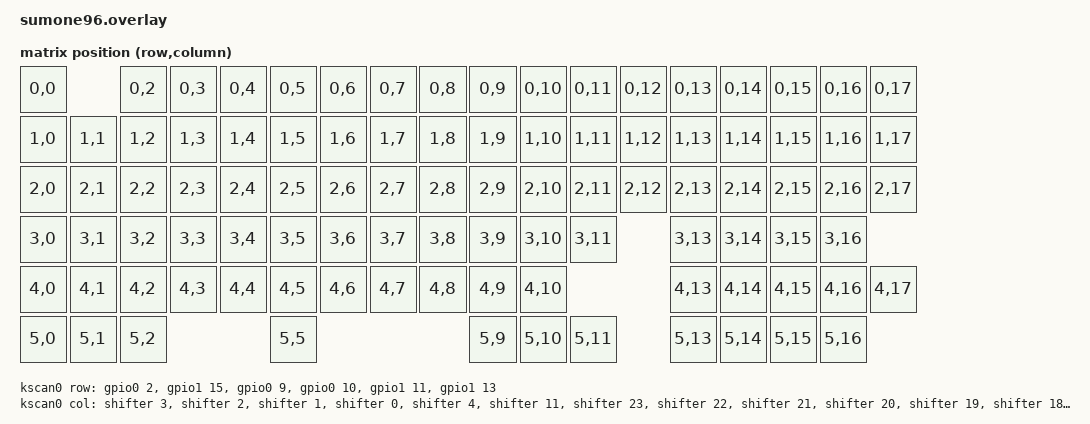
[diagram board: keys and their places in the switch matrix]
&pinctrl {
    spi0_default: spi0_default {
        group1 {
            psels = <NRF_PSEL(SPIM_SCK, 0, 17)>,
                    <NRF_PSEL(SPIM_MOSI, 0, 22)>;
        };
    };
};

&spi0 {
    status = "okay";
    cs-gpios = <&gpio0 20 GPIO_ACTIVE_LOW>;
    pinctrl-0 = <&spi0_default>;
    pinctrl-names = "default";

    shifter: 595@0 {
        compatible = "zmk,gpio-595";
        status = "okay";
        gpio-controller;
        spi-max-frequency = <2000000>;
        reg = <0>;
        #gpio-cells = <2>;
        ngpios = <24>;
    };
};

/ {
    backlight: backlight {
        compatible = "gpio-leds";
        numlock_led {
            gpios = <&shifter 17 GPIO_ACTIVE_HIGH>;
        };
    };

    kscan0: kscan {
        compatible = "zmk,kscan-gpio-matrix";
        diode-direction = "col2row";
        wakeup-source;

        row-gpios
            = <&gpio0 2  (GPIO_ACTIVE_HIGH | GPIO_PULL_DOWN)>
            , <&gpio1 15 (GPIO_ACTIVE_HIGH | GPIO_PULL_DOWN)>
            , <&gpio0 9  (GPIO_ACTIVE_HIGH | GPIO_PULL_DOWN)>
            , <&gpio0 10 (GPIO_ACTIVE_HIGH | GPIO_PULL_DOWN)>
            , <&gpio1 11 (GPIO_ACTIVE_HIGH | GPIO_PULL_DOWN)>
            , <&gpio1 13 (GPIO_ACTIVE_HIGH | GPIO_PULL_DOWN)>
            ;
        col-gpios
            = <&shifter 3  GPIO_ACTIVE_HIGH>
            , <&shifter 2  GPIO_ACTIVE_HIGH>
            , <&shifter 1  GPIO_ACTIVE_HIGH>
            , <&shifter 0  GPIO_ACTIVE_HIGH>
            , <&shifter 4  GPIO_ACTIVE_HIGH>
            , <&shifter 11 GPIO_ACTIVE_HIGH>
            , <&shifter 23 GPIO_ACTIVE_HIGH>
            , <&shifter 22 GPIO_ACTIVE_HIGH>
            , <&shifter 21 GPIO_ACTIVE_HIGH>
            , <&shifter 20 GPIO_ACTIVE_HIGH>
            , <&shifter 19 GPIO_ACTIVE_HIGH>
            , <&shifter 18 GPIO_ACTIVE_HIGH>
            , <&shifter 10 GPIO_ACTIVE_HIGH>
            , <&shifter 9 GPIO_ACTIVE_HIGH>
            , <&shifter 8  GPIO_ACTIVE_HIGH>
            , <&shifter 7  GPIO_ACTIVE_HIGH>
            , <&shifter 6  GPIO_ACTIVE_HIGH>
            , <&shifter 5  GPIO_ACTIVE_HIGH>
            ;
    };

    default_transform: matrix_transform {
        compatible = "zmk,matrix-transform";
        rows = <6>;
        columns = <18>;

        map = <
            RC(0,0)         RC(0,2) RC(0,3) RC(0,4) RC(0,5) RC(0,6) RC(0,7) RC(0,8) RC(0,9) RC(0,10) RC(0,11) RC(0,12) RC(0,13)     RC(0,14) RC(0,15) RC(0,16) RC(0,17)
            RC(1,0) RC(1,1) RC(1,2) RC(1,3) RC(1,4) RC(1,5) RC(1,6) RC(1,7) RC(1,8) RC(1,9) RC(1,10) RC(1,11) RC(1,12) RC(1,13)     RC(1,14) RC(1,15) RC(1,16) RC(1,17)
            RC(2,0) RC(2,1) RC(2,2) RC(2,3) RC(2,4) RC(2,5) RC(2,6) RC(2,7) RC(2,8) RC(2,9) RC(2,10) RC(2,11) RC(2,12) RC(2,13)     RC(2,14) RC(2,15) RC(2,16) RC(2,17)
            RC(3,0) RC(3,1) RC(3,2) RC(3,3) RC(3,4) RC(3,5) RC(3,6) RC(3,7) RC(3,8) RC(3,9) RC(3,10) RC(3,11)          RC(3,13)     RC(3,14) RC(3,15) RC(3,16)
            RC(4,0) RC(4,1) RC(4,2) RC(4,3) RC(4,4) RC(4,5) RC(4,6) RC(4,7) RC(4,8) RC(4,9) RC(4,10)                   RC(4,13)     RC(4,14) RC(4,15) RC(4,16) RC(4,17)
            RC(5,0) RC(5,1) RC(5,2)                 RC(5,5)                         RC(5,9) RC(5,10) RC(5,11)          RC(5,13)     RC(5,14) RC(5,15) RC(5,16)
        >;
    };
};
